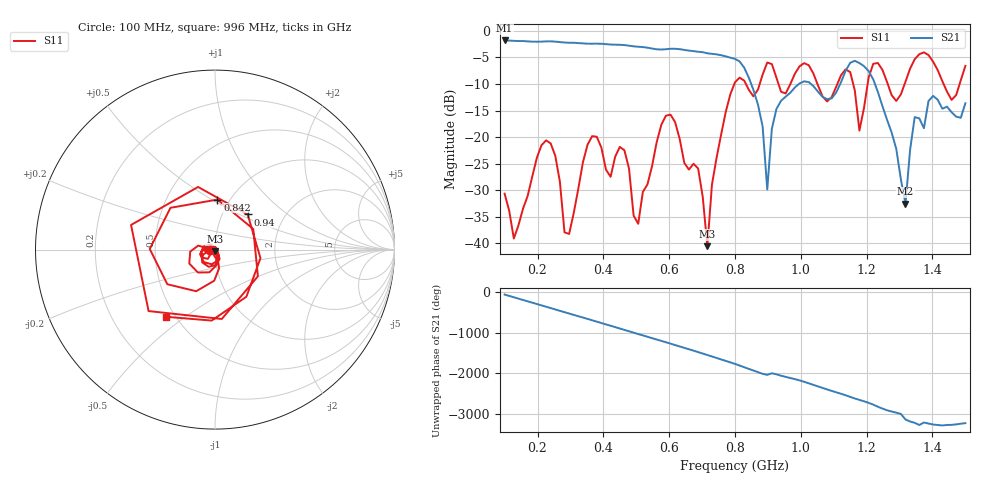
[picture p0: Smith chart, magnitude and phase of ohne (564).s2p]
! NanoVNA-App
! Date: 2025-09-25 14:25:11
! Start: 100MHz Stop: 1,5GHz Points: 101
! S-Parameter data: F S11 S21 S12 S22
# Hz S RI R 50
!  Frequency  S11_Real  S11_Imag  S21_Real  S21_Imag  S12_Real  S12_Imag  S22_Real  S22_Imag
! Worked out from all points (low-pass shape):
!   101 points, 100 MHz to 1.5 GHz, reference 50 ohm
!   highest |S21| = -1.79 dB at 100 MHz (marker M1); lowest = -32.5 dB at 1.318 GHz (marker M2)
!   |S21| within 3 dB of the highest: start of sweep to 772.1 MHz
!   lowest |S11| = -40.5 dB at 716 MHz (marker M3), VSWR 1.02, Z = 49.9 - j0.93 ohm
!   |S11| at or under -10 dB: start of sweep to 797.9 MHz; 833.2 MHz to 875 MHz (41.88 MHz wide, 4.9 % of centre); 1.051 GHz to 1.111 GHz (60.4 MHz wide, 5.59 % of centre) (the widest 3 of 7)
!   S12 and S22 are empty: the file has one direction only
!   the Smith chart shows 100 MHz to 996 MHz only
!   S11 on the Smith chart (normalised r, x): 100 MHz: 0.94, -0.01; 842 MHz: 0.88, +0.53; 940 MHz: 1.31, +0.55; 996 MHz: 0.44, -0.42
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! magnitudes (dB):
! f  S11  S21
! 100 MHz  -30.6  -1.8
! 128 MHz  -39.1  -1.9
! 226 MHz  -20.6  -2.0
! 296 MHz  -38.2  -2.2
! 338 MHz  -24.7  -2.3
! 464 MHz  -22.5  -2.7
! 506 MHz  -36.3  -3.0
! 576 MHz  -17.7  -3.5
! 688 MHz  -25.9  -3.9
! 716 MHz  -40.5  -4.2
! 800 MHz  -9.7  -5.3
! 842 MHz  -11.1  -8.8
! 898 MHz  -5.9  -29.9
! 940 MHz  -11.5  -13.1
! 996 MHz  -6.7  -9.9
! 1.038 GHz  -8.0  -10.4
! 1.178 GHz  -18.8  -6.1
! 1.22 GHz  -6.2  -9.1
! 1.276 GHz  -12.1  -19.1
! 1.318 GHz  -9.6  -32.5
! 1.346 GHz  -5.3  -16.2
! 1.5 GHz  -6.6  -13.6
